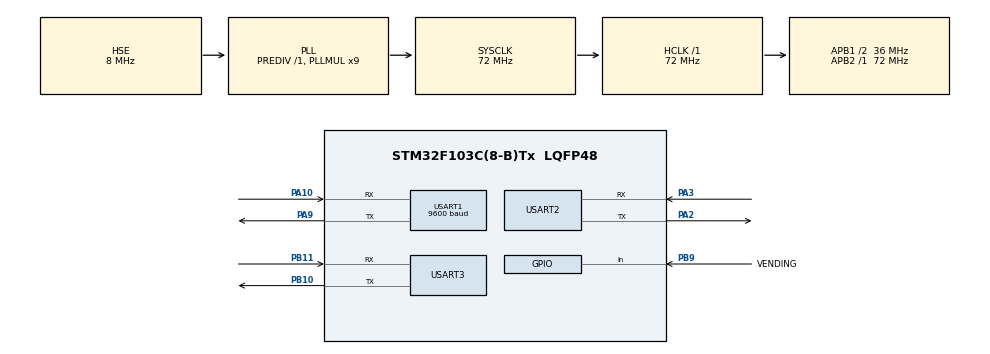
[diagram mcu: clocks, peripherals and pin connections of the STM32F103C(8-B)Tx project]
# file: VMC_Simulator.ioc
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FREERTOS.INCLUDE_uxTaskGetStackHighWaterMark=1
FREERTOS.INCLUDE_uxTaskPriorityGet=1
FREERTOS.INCLUDE_vTaskPrioritySet=1
FREERTOS.Tasks01=defaultTask,24,128,StartDefaultTask,Default,NULL,Dynamic,NULL,NULL
FREERTOS.configTOTAL_HEAP_SIZE=9500
FREERTOS.configUSE_NEWLIB_REENTRANT=1
Mcu.Family=STM32F1
Mcu.Name=STM32F103C(8-B)Tx
Mcu.Package=LQFP48
NVIC.PriorityGroup=NVIC_PRIORITYGROUP_4
NVIC.TIM4_IRQn=true\:15\:0\:false\:false\:true\:false\:false\:true\:true
NVIC.TimeBase=TIM4_IRQn
NVIC.TimeBaseIP=TIM4
NVIC.USART1_IRQn=true\:5\:0\:false\:false\:true\:true\:true\:true\:true
NVIC.USART2_IRQn=true\:5\:0\:false\:false\:true\:true\:true\:true\:true
PA10.GPIO_PuPd=GPIO_PULLUP
PA10.Mode=Asynchronous
PA10.Signal=USART1_RX
PA13.Mode=JTAG_4_pins
PA13.Signal=SYS_JTMS-SWDIO
PA14.Mode=JTAG_4_pins
PA14.Signal=SYS_JTCK-SWCLK
PA15.Mode=JTAG_4_pins
PA15.Signal=SYS_JTDI
PA2.Mode=Asynchronous
PA2.Signal=USART2_TX
PA3.Mode=Asynchronous
PA3.Signal=USART2_RX
PA9.Mode=Asynchronous
PA9.Signal=USART1_TX
PB10.Mode=Asynchronous
PB10.Signal=USART3_TX
PB11.Mode=Asynchronous
PB11.Signal=USART3_RX
PB3.Mode=JTAG_4_pins
PB3.Signal=SYS_JTDO-TRACESWO
PB9.GPIO_Label=VENDING
PB9.GPIO_PuPd=GPIO_PULLUP
PB9.Signal=GPIO_Input
PD0-OSC_IN.Mode=HSE-External-Oscillator
PD0-OSC_IN.Signal=RCC_OSC_IN
PD1-OSC_OUT.Mode=HSE-External-Oscillator
PD1-OSC_OUT.Signal=RCC_OSC_OUT
ProjectManager.HeapSize=0x200
ProjectManager.StackSize=0x400
ProjectManager.TargetToolchain=STM32CubeIDE
RCC.AHBFreq_Value=72000000
RCC.APB1CLKDivider=RCC_HCLK_DIV2
RCC.APB1Freq_Value=36000000
RCC.APB1TimFreq_Value=72000000
RCC.APB2Freq_Value=72000000
RCC.APB2TimFreq_Value=72000000
RCC.HCLKFreq_Value=72000000
RCC.PLLMUL=RCC_PLL_MUL9
RCC.PLLSourceVirtual=RCC_PLLSOURCE_HSE
RCC.SYSCLKFreq_VALUE=72000000
RCC.SYSCLKSource=RCC_SYSCLKSOURCE_PLLCLK
RCC.USBFreq_Value=48000000
RCC.USBPrescaler=RCC_USBCLKSOURCE_PLL_DIV1_5
USART1.BaudRate=9600
USART1.VirtualMode=VM_ASYNC
USART1.WordLength=WORDLENGTH_9B
USART2.VirtualMode=VM_ASYNC
USART3.VirtualMode=VM_ASYNC
VP_FREERTOS_VS_CMSIS_V2.Mode=CMSIS_V2
VP_SYS_VS_tim4.Mode=TIM4
board=custom

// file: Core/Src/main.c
/* USER CODE BEGIN Header */
/**
  ******************************************************************************
  * @file           : main.c
  * @brief          : Main program body
  ******************************************************************************
  * @attention
  *
  * Copyright (c) 2025 STMicroelectronics.
  * All rights reserved.
  *
  * This software is licensed under terms that can be found in the LICENSE file
  * in the root directory of this software component.
  * If no LICENSE file comes with this software, it is provided AS-IS.
  *
  ******************************************************************************
  */
/* USER CODE END Header */
#include "main.h"
#include "cmsis_os.h"

/* USER CODE BEGIN Includes */
#include "FreeRTOS.h"
#include "MDB_Handler.h"
#include "system_tasks.h"
#include "ESP8266_Handler.h"
#include "SYS_Logger.h"
/* USER CODE END Includes */

UART_HandleTypeDef huart1;
UART_HandleTypeDef huart2;
UART_HandleTypeDef huart3;

/* Definitions for defaultTask */
osThreadId_t defaultTaskHandle;
const osThreadAttr_t defaultTask_attributes = {
  .name = "defaultTask",
  .stack_size = 128 * 4,
  .priority = (osPriority_t) osPriorityNormal,
};

void SystemClock_Config(void);
static void MX_GPIO_Init(void);
static void MX_USART1_UART_Init(void);
static void MX_USART2_UART_Init(void);
static void MX_USART3_UART_Init(void);
void StartDefaultTask(void *argument);

/* USER CODE BEGIN 0 */

void HAL_UART_ErrorCallback(UART_HandleTypeDef *huart) {

  __HAL_UART_DISABLE_IT(huart, UART_IT_TC);
  __HAL_UART_DISABLE_IT(huart, UART_IT_TXE);

  /* Check if a receive process is ongoing or not */
  if(huart->gState == HAL_UART_STATE_BUSY_TX_RX)
  {
    huart->gState = HAL_UART_STATE_BUSY_RX;
  }
  else
  {
    huart->gState = HAL_UART_STATE_READY;
  }
   HAL_UART_RxCpltCallback(huart);
}

/**
 * @brief UART receive complete callback for MDB communication
 * @note This function is called by the HAL library when a byte is received
 */
void HAL_UART_RxCpltCallback(UART_HandleTypeDef *huart)
{
    if (mdb_config.mdb_uart != NULL && huart->Instance == mdb_config.mdb_uart->Instance)
    {
        MDB_UART_RxCallback(huart);
    }
    else if (esp_config.esp_uart != NULL && huart->Instance == esp_config.esp_uart->Instance) {
        ESP_UART_RxCallback(huart);
    }
}

/* USER CODE END 0 */

int main(void)
{

  /* MCU Configuration--------------------------------------------------------*/

  /* Reset of all peripherals, Initializes the Flash interface and the Systick. */
  HAL_Init();

  /* Configure the system clock */
  SystemClock_Config();

  /* Initialize all configured peripherals */
  MX_GPIO_Init();
  MX_USART1_UART_Init();
  MX_USART2_UART_Init();
  MX_USART3_UART_Init();
  /* USER CODE BEGIN 2 */
  SYS_InitLogger();   /* Initialize system logger */
  ESP_Init();         /* Initialize ESP8266 module */
  MDB_BusInit();      /* Initialize MDB bus */
  /* USER CODE END 2 */

  /* Init scheduler */
  osKernelInitialize();

  /* Create the thread(s) */
  /* creation of defaultTask */
  defaultTaskHandle = osThreadNew(StartDefaultTask, NULL, &defaultTask_attributes);

  /* USER CODE BEGIN RTOS_THREADS */
  /* add threads, ... */
  System_TaskCreate();                 /* create before scheduler        */
  /* USER CODE END RTOS_THREADS */

  /* Start scheduler */
  osKernelStart();

  /* We should never get here as control is now taken by the scheduler */

  /* Infinite loop */
  while (1)
  {

  }
}

void SystemClock_Config(void)
{
  RCC_OscInitTypeDef RCC_OscInitStruct = {0};
  RCC_ClkInitTypeDef RCC_ClkInitStruct = {0};

  /** Initializes the RCC Oscillators according to the specified parameters
  * in the RCC_OscInitTypeDef structure.
  */
  RCC_OscInitStruct.OscillatorType = RCC_OSCILLATORTYPE_HSE;
  RCC_OscInitStruct.HSEState = RCC_HSE_ON;
  RCC_OscInitStruct.HSEPredivValue = RCC_HSE_PREDIV_DIV1;
  RCC_OscInitStruct.HSIState = RCC_HSI_ON;
  RCC_OscInitStruct.PLL.PLLState = RCC_PLL_ON;
  RCC_OscInitStruct.PLL.PLLSource = RCC_PLLSOURCE_HSE;
  RCC_OscInitStruct.PLL.PLLMUL = RCC_PLL_MUL9;
  if (HAL_RCC_OscConfig(&RCC_OscInitStruct) != HAL_OK)
  {
    Error_Handler();
  }

  /** Initializes the CPU, AHB and APB buses clocks
  */
  RCC_ClkInitStruct.ClockType = RCC_CLOCKTYPE_HCLK|RCC_CLOCKTYPE_SYSCLK
                              |RCC_CLOCKTYPE_PCLK1|RCC_CLOCKTYPE_PCLK2;
  RCC_ClkInitStruct.SYSCLKSource = RCC_SYSCLKSOURCE_PLLCLK;
  RCC_ClkInitStruct.AHBCLKDivider = RCC_SYSCLK_DIV1;
  RCC_ClkInitStruct.APB1CLKDivider = RCC_HCLK_DIV2;
  RCC_ClkInitStruct.APB2CLKDivider = RCC_HCLK_DIV1;

  if (HAL_RCC_ClockConfig(&RCC_ClkInitStruct, FLASH_LATENCY_2) != HAL_OK)
  {
    Error_Handler();
  }
}

static void MX_USART1_UART_Init(void)
{

  huart1.Instance = USART1;
  huart1.Init.BaudRate = 9600;
  huart1.Init.WordLength = UART_WORDLENGTH_9B;
  huart1.Init.StopBits = UART_STOPBITS_1;
  huart1.Init.Parity = UART_PARITY_NONE;
  huart1.Init.Mode = UART_MODE_TX_RX;
  huart1.Init.HwFlowCtl = UART_HWCONTROL_NONE;
  huart1.Init.OverSampling = UART_OVERSAMPLING_16;
  if (HAL_UART_Init(&huart1) != HAL_OK)
  {
    Error_Handler();
  }

}

static void MX_USART2_UART_Init(void)
{

  huart2.Instance = USART2;
  huart2.Init.BaudRate = 115200;
  huart2.Init.WordLength = UART_WORDLENGTH_8B;
  huart2.Init.StopBits = UART_STOPBITS_1;
  huart2.Init.Parity = UART_PARITY_NONE;
  huart2.Init.Mode = UART_MODE_TX_RX;
  huart2.Init.HwFlowCtl = UART_HWCONTROL_NONE;
  huart2.Init.OverSampling = UART_OVERSAMPLING_16;
  if (HAL_UART_Init(&huart2) != HAL_OK)
  {
    Error_Handler();
  }

}

static void MX_USART3_UART_Init(void)
{

  huart3.Instance = USART3;
  huart3.Init.BaudRate = 115200;
  huart3.Init.WordLength = UART_WORDLENGTH_8B;
  huart3.Init.StopBits = UART_STOPBITS_1;
  huart3.Init.Parity = UART_PARITY_NONE;
  huart3.Init.Mode = UART_MODE_TX_RX;
  huart3.Init.HwFlowCtl = UART_HWCONTROL_NONE;
  huart3.Init.OverSampling = UART_OVERSAMPLING_16;
  if (HAL_UART_Init(&huart3) != HAL_OK)
  {
    Error_Handler();
  }

}

static void MX_GPIO_Init(void)
{
  GPIO_InitTypeDef GPIO_InitStruct = {0};

  /* GPIO Ports Clock Enable */
  __HAL_RCC_GPIOD_CLK_ENABLE();
  __HAL_RCC_GPIOA_CLK_ENABLE();
  __HAL_RCC_GPIOB_CLK_ENABLE();

  /*Configure GPIO pin : VENDING_Pin */
  GPIO_InitStruct.Pin = VENDING_Pin;
  GPIO_InitStruct.Mode = GPIO_MODE_INPUT;
  GPIO_InitStruct.Pull = GPIO_PULLUP;
  HAL_GPIO_Init(VENDING_GPIO_Port, &GPIO_InitStruct);

}

void StartDefaultTask(void *argument)
{
  for(;;)
  {
    osDelay(1);
  }
}

void HAL_TIM_PeriodElapsedCallback(TIM_HandleTypeDef *htim)
{
  if (htim->Instance == TIM4)
  {
    HAL_IncTick();
  }
}

void Error_Handler(void)
{
  __disable_irq();
  while (1)
  {
  }
}
